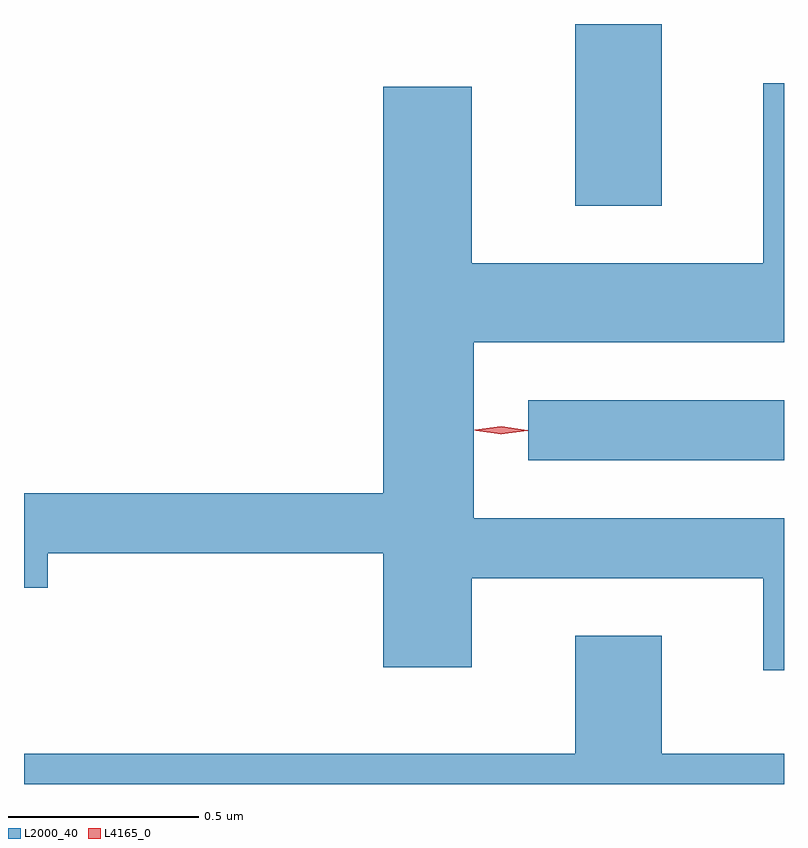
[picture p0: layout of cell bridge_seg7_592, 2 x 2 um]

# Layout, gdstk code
import gdstk
lib = gdstk.Library(unit=1e-6, precision=1e-09)
def R(c, l, rs):  # rectangles x0, y0, x1, y1
    for r in rs: c.add(gdstk.rectangle(r[:2], r[2:], *l))
def P(c, l, *ps):  # polygons
    for p in ps: c.add(gdstk.Polygon(p, *l))
L2000_40 = (2000, 40)
L4165_0 = (4165, 0)

bridge_seg7_592 = lib.new_cell('bridge_seg7_592')
R(bridge_seg7_592, L2000_40, [(960.488,1788.616,961.161,1788.774), (960.611,1789.286,960.839,1789.764)])
P(bridge_seg7_592, L2000_40, [(961.161,1788.464),(960.344,1788.464),(960.344,1788.926),(961.161,1788.926),(961.161,1789.608),(961.106,1789.608),(961.106,1789.134),(960.339,1789.134),(960.339,1789.599),(960.106,1789.599),(960.106,1788.529),(959.161,1788.529),(959.161,1788.281),(959.224,1788.281),(959.224,1788.371),(960.106,1788.371),(960.106,1788.071),(960.339,1788.071),(960.339,1788.306),(961.106,1788.306),(961.106,1788.063),(961.161,1788.063)],
  [(961.161,1787.844),(960.839,1787.844),(960.839,1788.154),(960.611,1788.154),(960.611,1787.844),(959.161,1787.844),(959.161,1787.764),(961.161,1787.764)])
P(bridge_seg7_592, L4165_0, [(960.416,1788.685),(960.347,1788.695),(960.347,1788.695),(960.347,1788.696),(960.417,1788.705),(960.486,1788.695),(960.486,1788.695),(960.486,1788.694)],
  [(960.417,1788.684),(960.351,1788.693),(960.35,1788.694),(960.351,1788.694),(960.417,1788.704),(960.482,1788.694),(960.483,1788.694),(960.482,1788.693)])

lib.write_gds('bridge_seg7_592.gds')
